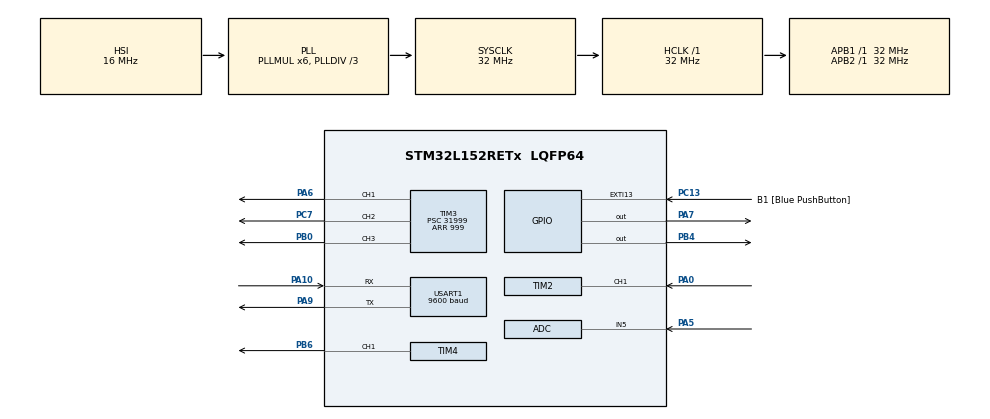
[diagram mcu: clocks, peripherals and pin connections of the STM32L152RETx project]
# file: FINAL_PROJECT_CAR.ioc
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ADC.Channel-0\#ChannelRegularConversion=ADC_CHANNEL_5
ADC.ClockPrescaler=ADC_CLOCK_ASYNC_DIV2
ADC.EOCSelection=ADC_EOC_SINGLE_CONV
ADC.NbrOfConversionFlag=1
ADC.Rank-0\#ChannelRegularConversion=1
ADC.SamplingTime-0\#ChannelRegularConversion=ADC_SAMPLETIME_4CYCLES
Mcu.Family=STM32L1
Mcu.Name=STM32L152RETx
Mcu.Package=LQFP64
NVIC.PriorityGroup=NVIC_PRIORITYGROUP_0
NVIC.TIM2_IRQn=true\:0\:0\:false\:false\:true\:true\:true\:true
NVIC.TIM3_IRQn=true\:0\:0\:false\:false\:true\:true\:true\:true
NVIC.TIM4_IRQn=true\:0\:0\:false\:false\:true\:true\:true\:true
NVIC.USART1_IRQn=true\:0\:0\:false\:false\:true\:true\:true\:true
PA0-WKUP1.Signal=S_TIM2_CH1_ETR
PA1.Signal=S_TIM2_CH2
PA10.Mode=Asynchronous
PA10.Signal=USART1_RX
PA13.GPIO_Label=TMS
PA13.Mode=Serial_Wire
PA13.Signal=SYS_JTMS-SWDIO
PA14.GPIO_Label=TCK
PA14.Mode=Serial_Wire
PA14.Signal=SYS_JTCK-SWCLK
PA5.Mode=IN5
PA5.Signal=ADC_IN5
PA6.Signal=S_TIM3_CH1
PA7.Signal=GPIO_Output
PA9.Mode=Asynchronous
PA9.Signal=USART1_TX
PB0.Signal=S_TIM3_CH3
PB3.GPIO_Label=SWO
PB3.Signal=SYS_JTDO-TRACESWO
PB4.Signal=GPIO_Output
PB6.Signal=S_TIM4_CH1
PC13-WKUP2.GPIO_Label=B1 [Blue PushButton]
PC13-WKUP2.Signal=GPXTI13
PC14-OSC32_IN.Mode=LSE-External-Oscillator
PC14-OSC32_IN.Signal=RCC_OSC32_IN
PC15-OSC32_OUT.Mode=LSE-External-Oscillator
PC15-OSC32_OUT.Signal=RCC_OSC32_OUT
PC7.Signal=S_TIM3_CH2
PH0-OSC_IN.Mode=HSE-External-Clock-Source
PH0-OSC_IN.Signal=RCC_OSC_IN
PH1-OSC_OUT.Signal=RCC_OSC_OUT
ProjectManager.HeapSize=0x200
ProjectManager.StackSize=0x400
ProjectManager.TargetToolchain=STM32CubeIDE
RCC.48MHZClocksFreq_Value=48000000
RCC.AHBFreq_Value=32000000
RCC.APB1Freq_Value=32000000
RCC.APB1TimFreq_Value=32000000
RCC.APB2Freq_Value=32000000
RCC.APB2TimFreq_Value=32000000
RCC.HCLKFreq_Value=32000000
RCC.HSE_VALUE=8000000
RCC.HSI_VALUE=16000000
RCC.MSI_VALUE=2097000
RCC.PLLDIV=RCC_PLL_DIV3
RCC.PLLMUL=RCC_PLL_MUL6
RCC.RTCClockSelectionVirtual=RCC_RTCCLKSOURCE_LSE
RCC.SYSCLKFreq_VALUE=32000000
RCC.SYSCLKSource=RCC_SYSCLKSOURCE_PLLCLK
RCC.USBOutput=48000000
RCC.VCOOutputFreq_Value=96000000
SH.S_TIM2_CH1_ETR.0=TIM2_CH1,Input_Capture1_from_TI1
SH.S_TIM2_CH2.0=TIM2_CH2
SH.S_TIM3_CH1.0=TIM3_CH1,PWM Generation1 CH1
SH.S_TIM3_CH2.0=TIM3_CH2,PWM Generation2 CH2
SH.S_TIM3_CH3.0=TIM3_CH3,PWM Generation3 CH3
SH.S_TIM4_CH1.0=TIM4_CH1,PWM Generation1 CH1
TIM2.AutoReloadPreload=TIM_AUTORELOAD_PRELOAD_ENABLE
TIM2.Channel-Input_Capture1_from_TI1=TIM_CHANNEL_1
TIM2.Channel-Output\ Compare2\ No\ Output=TIM_CHANNEL_2
TIM2.OCMode_2=TIM_OCMODE_TOGGLE
TIM2.Prescaler=31
TIM2.Pulse-Output\ Compare2\ No\ Output=10
TIM3.AutoReloadPreload=TIM_AUTORELOAD_PRELOAD_ENABLE
TIM3.Channel-PWM\ Generation1\ CH1=TIM_CHANNEL_1
TIM3.Channel-PWM\ Generation2\ CH2=TIM_CHANNEL_2
TIM3.Channel-PWM\ Generation3\ CH3=TIM_CHANNEL_3
TIM3.Period=999
TIM3.Prescaler=31999
TIM3.Pulse-PWM\ Generation3\ CH3=500
TIM4.AutoReloadPreload=TIM_AUTORELOAD_PRELOAD_ENABLE
TIM4.Channel-PWM\ Generation1\ CH1=TIM_CHANNEL_1
TIM4.Period=299
TIM4.Prescaler=31999
USART1.BaudRate=9600
USART1.VirtualMode=VM_ASYNC
VP_TIM2_VS_ClockSourceINT.Mode=Internal
VP_TIM2_VS_no_output2.Mode=Output Compare2 No Output
VP_TIM3_VS_ClockSourceINT.Mode=Internal
VP_TIM4_VS_ClockSourceINT.Mode=Internal
board=NUCLEO-L152RE

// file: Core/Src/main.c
/* USER CODE BEGIN Header */
/**
  ******************************************************************************
  * @file           : main.c
  ******************************************************************************
  */
/* USER CODE END Header */
#include "main.h"

/* USER CODE BEGIN PD */
// Ultrasonic sensor pins
#define TRIG_PIN GPIO_PIN_1
#define ECHO_PIN GPIO_PIN_0
#define TRIG_PORT GPIOA
#define ECHO_PORT GPIOA

// Buzzer pin
#define BUZZER_PIN GPIO_PIN_0
#define BUZZER_PORT GPIOB

// Motor driver pins
#define MOTOR_RIGHT_FWD_PIN GPIO_PIN_6  // IN1 - TIM3_CH1
#define MOTOR_RIGHT_BWD_PIN GPIO_PIN_7  // IN2
#define MOTOR_LEFT_FWD_PIN  GPIO_PIN_7  // IN3 - TIM3_CH2
#define MOTOR_LEFT_BWD_PIN  GPIO_PIN_4  // IN4
#define MOTOR_RIGHT_FWD_PORT GPIOA
#define MOTOR_RIGHT_BWD_PORT GPIOA
#define MOTOR_LEFT_FWD_PORT  GPIOC
#define MOTOR_LEFT_BWD_PORT  GPIOB

// Motor speed defines
#define MOTOR_FULL_SPEED  999   // Full speed PWM value
#define MOTOR_SLOW_SPEED  200   // Slow speed PWM value
#define MOTOR_STOP        0     // Stop PWM value

#define ADC_THRESHOLD 2482  // 2V threshold (2.0/3.3 * 4095)
#define UART_BUFFER_SIZE 1  // Size of UART receive buffer
/* USER CODE END PD */

ADC_HandleTypeDef hadc;

TIM_HandleTypeDef htim2;
TIM_HandleTypeDef htim3;
TIM_HandleTypeDef htim4;

UART_HandleTypeDef huart1;

/* USER CODE BEGIN PV */
uint32_t IC_Val1 = 0;
uint32_t IC_Val2 = 0;
uint32_t Difference = 0;
uint8_t Is_First_Captured = 0;
uint32_t Distance = 0;
uint32_t AdcValue = 0;
uint8_t uartBuffer[UART_BUFFER_SIZE];  // Buffer for UART reception
uint8_t manualMode = 0;  // 0 for automatic, 1 for manual mode
uint8_t rxData;
/* USER CODE END PV */

void SystemClock_Config(void);
static void MX_GPIO_Init(void);
static void MX_ADC_Init(void);
static void MX_TIM2_Init(void);
static void MX_TIM3_Init(void);
static void MX_TIM4_Init(void);
static void MX_USART1_UART_Init(void);
/* USER CODE BEGIN PFP */
void HCSR04_Start(void);
void motors_forward(uint32_t speed);
void motors_backward(uint32_t speed);
void motors_turn_left(uint32_t speed);
void motors_turn_right(uint32_t speed);
void motors_stop(void);
/* USER CODE END PFP */

/* USER CODE BEGIN 0 */
void motors_forward(uint32_t speed)
{
    // Set right motor speed using PWM
    __HAL_TIM_SET_COMPARE(&htim3, TIM_CHANNEL_1, speed);
    HAL_GPIO_WritePin(MOTOR_RIGHT_BWD_PORT, MOTOR_RIGHT_BWD_PIN, GPIO_PIN_RESET);

    // Set left motor speed using PWM
    __HAL_TIM_SET_COMPARE(&htim3, TIM_CHANNEL_2, speed);
    HAL_GPIO_WritePin(MOTOR_LEFT_BWD_PORT, MOTOR_LEFT_BWD_PIN, GPIO_PIN_RESET);
}

void motors_backward(uint32_t speed)
{
    // Right motor backward
    __HAL_TIM_SET_COMPARE(&htim3, TIM_CHANNEL_1, 0);
    HAL_GPIO_WritePin(MOTOR_RIGHT_BWD_PORT, MOTOR_RIGHT_BWD_PIN, GPIO_PIN_SET);

    // Left motor backward
    __HAL_TIM_SET_COMPARE(&htim3, TIM_CHANNEL_2, 0);
    HAL_GPIO_WritePin(MOTOR_LEFT_BWD_PORT, MOTOR_LEFT_BWD_PIN, GPIO_PIN_SET);
}

void motors_turn_right(uint32_t speed)
{
    // Right motor backward
    __HAL_TIM_SET_COMPARE(&htim3, TIM_CHANNEL_1, 0);
    HAL_GPIO_WritePin(MOTOR_RIGHT_BWD_PORT, MOTOR_RIGHT_BWD_PIN, GPIO_PIN_SET);

    // Left motor forward
    __HAL_TIM_SET_COMPARE(&htim3, TIM_CHANNEL_2, speed);
    HAL_GPIO_WritePin(MOTOR_LEFT_BWD_PORT, MOTOR_LEFT_BWD_PIN, GPIO_PIN_RESET);
}

void motors_turn_left(uint32_t speed)
{
    // Right motor forward
    __HAL_TIM_SET_COMPARE(&htim3, TIM_CHANNEL_1, speed);
    HAL_GPIO_WritePin(MOTOR_RIGHT_BWD_PORT, MOTOR_RIGHT_BWD_PIN, GPIO_PIN_RESET);

    // Left motor backward
    __HAL_TIM_SET_COMPARE(&htim3, TIM_CHANNEL_2, 0);
    HAL_GPIO_WritePin(MOTOR_LEFT_BWD_PORT, MOTOR_LEFT_BWD_PIN, GPIO_PIN_SET);
}

void motors_stop(void)
{
    // Stop right motor
    __HAL_TIM_SET_COMPARE(&htim3, TIM_CHANNEL_1, MOTOR_STOP);
    HAL_GPIO_WritePin(MOTOR_RIGHT_BWD_PORT, MOTOR_RIGHT_BWD_PIN, GPIO_PIN_RESET);

    // Stop left motor
    __HAL_TIM_SET_COMPARE(&htim3, TIM_CHANNEL_2, MOTOR_STOP);
    HAL_GPIO_WritePin(MOTOR_LEFT_BWD_PORT, MOTOR_LEFT_BWD_PIN, GPIO_PIN_RESET);
}
void HAL_TIM_PeriodElapsedCallback(TIM_HandleTypeDef *htim)
{
    if (htim->Instance == TIM4)  // 300ms timer for trigger
    {
        // Start ADC conversion and read value
        HAL_ADC_Start(&hadc);
        if(HAL_ADC_PollForConversion(&hadc, 100) == HAL_OK)
        {
            AdcValue = HAL_ADC_GetValue(&hadc);
            HAL_ADC_Stop(&hadc);

            if(AdcValue >= ADC_THRESHOLD)
            {
                if(!manualMode)  // Only trigger ultrasonic sensor in automatic mode
                {
                    HCSR04_Start();
                }
            }
            else
            {
                __HAL_TIM_SET_COMPARE(&htim3, TIM_CHANNEL_3, 1000);  // Buzzer off when voltage < 2V
                HAL_TIM_IC_Stop_IT(&htim2, TIM_CHANNEL_1);  // Stop sensor when voltage is low
                HAL_TIM_OC_Stop_IT(&htim2, TIM_CHANNEL_2);
                motors_stop();  // Stop motors when voltage is low
            }
        }
    }
}

void HAL_UART_RxCpltCallback(UART_HandleTypeDef *huart)
{
    if (huart->Instance == USART1)
    {
        // Send acknowledgment back to confirm command received
    	uint8_t ack[] = "OK\r\n";
        HAL_UART_Transmit(&huart1, ack, sizeof(ack)-1, 100);

        switch(rxData)
        {
            case 'M': // Manual mode
                if(!manualMode) {  // Only if not already in manual mode
                    manualMode = 1;
                    motors_stop();
                    HAL_TIM_IC_Stop_IT(&htim2, TIM_CHANNEL_1);
                    HAL_TIM_OC_Stop_IT(&htim2, TIM_CHANNEL_2);
                }
                break;

            case 'A': // Automatic mode
                if(manualMode) {  // Only if not already in automatic mode
                    manualMode = 0;
                    motors_stop();
                    if(AdcValue >= ADC_THRESHOLD)
                    {
                        HCSR04_Start();
                    }
                }
                break;

            case 'F': // Forward
                if(manualMode && AdcValue >= ADC_THRESHOLD)
                {
                    motors_forward(MOTOR_FULL_SPEED);
                }
                break;

            case 'B': // Backward
                if(manualMode && AdcValue >= ADC_THRESHOLD)
                {
                    motors_backward(MOTOR_SLOW_SPEED);
                }
                break;

            case 'L': // Left
                if(manualMode && AdcValue >= ADC_THRESHOLD)
                {
                    motors_turn_left(MOTOR_FULL_SPEED);
                }
                break;

            case 'R': // Right
                if(manualMode && AdcValue >= ADC_THRESHOLD)
                {
                    motors_turn_right(MOTOR_FULL_SPEED);
                }
                break;

            case 'S': // Stop
                if(manualMode)
                {
                    motors_stop();
                }
                break;
        }
    }

    // Immediately restart reception for next command
    HAL_UART_Receive_IT(&huart1, &rxData, 1);
}

void HAL_TIM_IC_CaptureCallback(TIM_HandleTypeDef *htim)
{
    if (htim->Instance != TIM2) return;  // Only process TIM2 events
    if (manualMode) return;  // Don't process if in manual mode

    if (htim->Channel == HAL_TIM_ACTIVE_CHANNEL_1)
    {
        if (Is_First_Captured == 0)
        {
            IC_Val1 = HAL_TIM_ReadCapturedValue(htim, TIM_CHANNEL_1);
            Is_First_Captured = 1;
            __HAL_TIM_SET_CAPTUREPOLARITY(htim, TIM_CHANNEL_1, TIM_INPUTCHANNELPOLARITY_FALLING);
        }
        else
        {
            IC_Val2 = HAL_TIM_ReadCapturedValue(htim, TIM_CHANNEL_1);

            if (IC_Val2 > IC_Val1)
                Difference = IC_Val2 - IC_Val1;
            else if (IC_Val2 < IC_Val1)
                Difference = ((65535 - IC_Val1) + IC_Val2) + 1;

            Distance = Difference / 58;

            // Update Buzzer and Motors based on distance only if ADC value is above threshold
            if(AdcValue >= ADC_THRESHOLD)
            {
                if(Distance >= 30) {
                    __HAL_TIM_SET_COMPARE(&htim3, TIM_CHANNEL_3, 1000);  // Buzzer off
                    motors_forward(MOTOR_FULL_SPEED);  // Full speed forward
                }
                else if(Distance >= 10) {
                    __HAL_TIM_SET_COMPARE(&htim3, TIM_CHANNEL_3, 500);   // Buzzer medium
                    motors_forward(MOTOR_SLOW_SPEED);  // Slow speed forward
                }
                else {
                    __HAL_TIM_SET_COMPARE(&htim3, TIM_CHANNEL_3, 0);     // Buzzer full
                    motors_stop();     // Stop motors when too close
                }
            }
            else {
                motors_stop();  // Stop motors when ADC below threshold
            }

            Is_First_Captured = 0;
            __HAL_TIM_SET_CAPTUREPOLARITY(htim, TIM_CHANNEL_1, TIM_INPUTCHANNELPOLARITY_RISING);
        }
    }
}

void HCSR04_Start(void)
{
    HAL_TIM_IC_Start_IT(&htim2, TIM_CHANNEL_1);    // Start input capture
    HAL_TIM_OC_Start_IT(&htim2, TIM_CHANNEL_2);    // Start output compare
}
/* USER CODE END 0 */

int main(void)
{

  /* MCU Configuration--------------------------------------------------------*/

  /* Reset of all peripherals, Initializes the Flash interface and the Systick. */
  HAL_Init();

  /* Configure the system clock */
  SystemClock_Config();

  /* Initialize all configured peripherals */
  MX_GPIO_Init();
  MX_ADC_Init();
  MX_TIM2_Init();
  MX_TIM3_Init();
  MX_TIM4_Init();
  MX_USART1_UART_Init();
  /* USER CODE BEGIN 2 */
  HAL_TIM_PWM_Start(&htim3, TIM_CHANNEL_1);  // Start PWM for right motor
  HAL_TIM_PWM_Start(&htim3, TIM_CHANNEL_2);  // Start PWM for left motor
  HAL_TIM_PWM_Start(&htim3, TIM_CHANNEL_3);  // Start PWM for buzzer
  HAL_TIM_Base_Start_IT(&htim4);             // Enable update interrupt for trigger timing

  // Send initial connection message
  uint8_t connectMsg[] = "Connection Established\r\n";
  HAL_UART_Transmit(&huart1, connectMsg, sizeof(connectMsg)-1, 1000);

  // Start receiving Bluetooth commands
  HAL_UART_Receive_IT(&huart1, (uint8_t*)&rxData, 1);

  // Initial ADC read and motor setup
  HAL_ADC_Start(&hadc);
  if(HAL_ADC_PollForConversion(&hadc, 100) == HAL_OK)
  {
      AdcValue = HAL_ADC_GetValue(&hadc);
      if(AdcValue >= ADC_THRESHOLD)
      {
          motors_forward(MOTOR_FULL_SPEED);  // Start at full speed if voltage is above threshold
          HCSR04_Start();
      }
      else
      {
          motors_stop();     // Ensure motors are stopped if voltage is low
      }
  }
  HAL_ADC_Stop(&hadc);
  /* USER CODE END 2 */

  /* Infinite loop */
  while (1)
  {

  }
}

void SystemClock_Config(void)
{
  RCC_OscInitTypeDef RCC_OscInitStruct = {0};
  RCC_ClkInitTypeDef RCC_ClkInitStruct = {0};

  /** Configure the main internal regulator output voltage
  */
  __HAL_PWR_VOLTAGESCALING_CONFIG(PWR_REGULATOR_VOLTAGE_SCALE1);

  /** Initializes the RCC Oscillators according to the specified parameters
  * in the RCC_OscInitTypeDef structure.
  */
  RCC_OscInitStruct.OscillatorType = RCC_OSCILLATORTYPE_HSI;
  RCC_OscInitStruct.HSIState = RCC_HSI_ON;
  RCC_OscInitStruct.HSICalibrationValue = RCC_HSICALIBRATION_DEFAULT;
  RCC_OscInitStruct.PLL.PLLState = RCC_PLL_ON;
  RCC_OscInitStruct.PLL.PLLSource = RCC_PLLSOURCE_HSI;
  RCC_OscInitStruct.PLL.PLLMUL = RCC_PLL_MUL6;
  RCC_OscInitStruct.PLL.PLLDIV = RCC_PLL_DIV3;
  if (HAL_RCC_OscConfig(&RCC_OscInitStruct) != HAL_OK)
  {
    Error_Handler();
  }

  /** Initializes the CPU, AHB and APB buses clocks
  */
  RCC_ClkInitStruct.ClockType = RCC_CLOCKTYPE_HCLK|RCC_CLOCKTYPE_SYSCLK
                              |RCC_CLOCKTYPE_PCLK1|RCC_CLOCKTYPE_PCLK2;
  RCC_ClkInitStruct.SYSCLKSource = RCC_SYSCLKSOURCE_PLLCLK;
  RCC_ClkInitStruct.AHBCLKDivider = RCC_SYSCLK_DIV1;
  RCC_ClkInitStruct.APB1CLKDivider = RCC_HCLK_DIV1;
  RCC_ClkInitStruct.APB2CLKDivider = RCC_HCLK_DIV1;

  if (HAL_RCC_ClockConfig(&RCC_ClkInitStruct, FLASH_LATENCY_1) != HAL_OK)
  {
    Error_Handler();
  }
}

static void MX_ADC_Init(void)
{

  ADC_ChannelConfTypeDef sConfig = {0};

  /** Configure the global features of the ADC (Clock, Resolution, Data Alignment and number of conversion)
  */
  hadc.Instance = ADC1;
  hadc.Init.ClockPrescaler = ADC_CLOCK_ASYNC_DIV2;
  hadc.Init.Resolution = ADC_RESOLUTION_12B;
  hadc.Init.DataAlign = ADC_DATAALIGN_RIGHT;
  hadc.Init.ScanConvMode = ADC_SCAN_DISABLE;
  hadc.Init.EOCSelection = ADC_EOC_SINGLE_CONV;
  hadc.Init.LowPowerAutoWait = ADC_AUTOWAIT_DISABLE;
  hadc.Init.LowPowerAutoPowerOff = ADC_AUTOPOWEROFF_DISABLE;
  hadc.Init.ChannelsBank = ADC_CHANNELS_BANK_A;
  hadc.Init.ContinuousConvMode = DISABLE;
  hadc.Init.NbrOfConversion = 1;
  hadc.Init.DiscontinuousConvMode = DISABLE;
  hadc.Init.ExternalTrigConv = ADC_SOFTWARE_START;
  hadc.Init.ExternalTrigConvEdge = ADC_EXTERNALTRIGCONVEDGE_NONE;
  hadc.Init.DMAContinuousRequests = DISABLE;
  if (HAL_ADC_Init(&hadc) != HAL_OK)
  {
    Error_Handler();
  }

  /** Configure for the selected ADC regular channel its corresponding rank in the sequencer and its sample time.
  */
  sConfig.Channel = ADC_CHANNEL_5;
  sConfig.Rank = ADC_REGULAR_RANK_1;
  sConfig.SamplingTime = ADC_SAMPLETIME_4CYCLES;
  if (HAL_ADC_ConfigChannel(&hadc, &sConfig) != HAL_OK)
  {
    Error_Handler();
  }

}

static void MX_TIM2_Init(void)
{

  TIM_ClockConfigTypeDef sClockSourceConfig = {0};
  TIM_MasterConfigTypeDef sMasterConfig = {0};
  TIM_IC_InitTypeDef sConfigIC = {0};
  TIM_OC_InitTypeDef sConfigOC = {0};

  htim2.Instance = TIM2;
  htim2.Init.Prescaler = 31;
  htim2.Init.CounterMode = TIM_COUNTERMODE_UP;
  htim2.Init.Period = 65535;
  htim2.Init.ClockDivision = TIM_CLOCKDIVISION_DIV1;
  htim2.Init.AutoReloadPreload = TIM_AUTORELOAD_PRELOAD_ENABLE;
  if (HAL_TIM_Base_Init(&htim2) != HAL_OK)
  {
    Error_Handler();
  }
  sClockSourceConfig.ClockSource = TIM_CLOCKSOURCE_INTERNAL;
  if (HAL_TIM_ConfigClockSource(&htim2, &sClockSourceConfig) != HAL_OK)
  {
    Error_Handler();
  }
  if (HAL_TIM_IC_Init(&htim2) != HAL_OK)
  {
    Error_Handler();
  }
  if (HAL_TIM_OC_Init(&htim2) != HAL_OK)
  {
    Error_Handler();
  }
  sMasterConfig.MasterOutputTrigger = TIM_TRGO_RESET;
  sMasterConfig.MasterSlaveMode = TIM_MASTERSLAVEMODE_DISABLE;
  if (HAL_TIMEx_MasterConfigSynchronization(&htim2, &sMasterConfig) != HAL_OK)
  {
    Error_Handler();
  }
  sConfigIC.ICPolarity = TIM_INPUTCHANNELPOLARITY_RISING;
  sConfigIC.ICSelection = TIM_ICSELECTION_DIRECTTI;
  sConfigIC.ICPrescaler = TIM_ICPSC_DIV1;
  sConfigIC.ICFilter = 0;
  if (HAL_TIM_IC_ConfigChannel(&htim2, &sConfigIC, TIM_CHANNEL_1) != HAL_OK)
  {
    Error_Handler();
  }
  sConfigOC.OCMode = TIM_OCMODE_TOGGLE;
  sConfigOC.Pulse = 10;
  sConfigOC.OCPolarity = TIM_OCPOLARITY_HIGH;
  sConfigOC.OCFastMode = TIM_OCFAST_DISABLE;
  if (HAL_TIM_OC_ConfigChannel(&htim2, &sConfigOC, TIM_CHANNEL_2) != HAL_OK)
  {
    Error_Handler();
  }

}

static void MX_TIM3_Init(void)
{

  TIM_ClockConfigTypeDef sClockSourceConfig = {0};
  TIM_MasterConfigTypeDef sMasterConfig = {0};
  TIM_OC_InitTypeDef sConfigOC = {0};

  htim3.Instance = TIM3;
  htim3.Init.Prescaler = 31999;
  htim3.Init.CounterMode = TIM_COUNTERMODE_UP;
  htim3.Init.Period = 999;
  htim3.Init.ClockDivision = TIM_CLOCKDIVISION_DIV1;
  htim3.Init.AutoReloadPreload = TIM_AUTORELOAD_PRELOAD_ENABLE;
  if (HAL_TIM_Base_Init(&htim3) != HAL_OK)
  {
    Error_Handler();
  }
  sClockSourceConfig.ClockSource = TIM_CLOCKSOURCE_INTERNAL;
  if (HAL_TIM_ConfigClockSource(&htim3, &sClockSourceConfig) != HAL_OK)
  {
    Error_Handler();
  }
  if (HAL_TIM_PWM_Init(&htim3) != HAL_OK)
  {
    Error_Handler();
  }
  sMasterConfig.MasterOutputTrigger = TIM_TRGO_RESET;
  sMasterConfig.MasterSlaveMode = TIM_MASTERSLAVEMODE_DISABLE;
  if (HAL_TIMEx_MasterConfigSynchronization(&htim3, &sMasterConfig) != HAL_OK)
  {
    Error_Handler();
  }
  sConfigOC.OCMode = TIM_OCMODE_PWM1;
  sConfigOC.Pulse = 0;
  sConfigOC.OCPolarity = TIM_OCPOLARITY_HIGH;
  sConfigOC.OCFastMode = TIM_OCFAST_DISABLE;
  if (HAL_TIM_PWM_ConfigChannel(&htim3, &sConfigOC, TIM_CHANNEL_1) != HAL_OK)
  {
    Error_Handler();
  }
  if (HAL_TIM_PWM_ConfigChannel(&htim3, &sConfigOC, TIM_CHANNEL_2) != HAL_OK)
  {
    Error_Handler();
  }
  sConfigOC.Pulse = 500;
  if (HAL_TIM_PWM_ConfigChannel(&htim3, &sConfigOC, TIM_CHANNEL_3) != HAL_OK)
  {
    Error_Handler();
  }
  HAL_TIM_MspPostInit(&htim3);

}

static void MX_TIM4_Init(void)
{

  TIM_ClockConfigTypeDef sClockSourceConfig = {0};
  TIM_MasterConfigTypeDef sMasterConfig = {0};
  TIM_OC_InitTypeDef sConfigOC = {0};

  htim4.Instance = TIM4;
  htim4.Init.Prescaler = 31999;
  htim4.Init.CounterMode = TIM_COUNTERMODE_UP;
  htim4.Init.Period = 299;
  htim4.Init.ClockDivision = TIM_CLOCKDIVISION_DIV1;
  htim4.Init.AutoReloadPreload = TIM_AUTORELOAD_PRELOAD_ENABLE;
  if (HAL_TIM_Base_Init(&htim4) != HAL_OK)
  {
    Error_Handler();
  }
  sClockSourceConfig.ClockSource = TIM_CLOCKSOURCE_INTERNAL;
  if (HAL_TIM_ConfigClockSource(&htim4, &sClockSourceConfig) != HAL_OK)
  {
    Error_Handler();
  }
  if (HAL_TIM_PWM_Init(&htim4) != HAL_OK)
  {
    Error_Handler();
  }
  sMasterConfig.MasterOutputTrigger = TIM_TRGO_RESET;
  sMasterConfig.MasterSlaveMode = TIM_MASTERSLAVEMODE_DISABLE;
  if (HAL_TIMEx_MasterConfigSynchronization(&htim4, &sMasterConfig) != HAL_OK)
  {
    Error_Handler();
  }
  sConfigOC.OCMode = TIM_OCMODE_PWM1;
  sConfigOC.Pulse = 0;
  sConfigOC.OCPolarity = TIM_OCPOLARITY_HIGH;
  sConfigOC.OCFastMode = TIM_OCFAST_DISABLE;
  if (HAL_TIM_PWM_ConfigChannel(&htim4, &sConfigOC, TIM_CHANNEL_1) != HAL_OK)
  {
    Error_Handler();
  }
  HAL_TIM_MspPostInit(&htim4);

}

static void MX_USART1_UART_Init(void)
{

  huart1.Instance = USART1;
  huart1.Init.BaudRate = 9600;
  huart1.Init.WordLength = UART_WORDLENGTH_8B;
  huart1.Init.StopBits = UART_STOPBITS_1;
  huart1.Init.Parity = UART_PARITY_NONE;
  huart1.Init.Mode = UART_MODE_TX_RX;
  huart1.Init.HwFlowCtl = UART_HWCONTROL_NONE;
  huart1.Init.OverSampling = UART_OVERSAMPLING_16;
  if (HAL_UART_Init(&huart1) != HAL_OK)
  {
    Error_Handler();
  }

}

static void MX_GPIO_Init(void)
{
  GPIO_InitTypeDef GPIO_InitStruct = {0};

  /* GPIO Ports Clock Enable */
  __HAL_RCC_GPIOC_CLK_ENABLE();
  __HAL_RCC_GPIOH_CLK_ENABLE();
  __HAL_RCC_GPIOA_CLK_ENABLE();
  __HAL_RCC_GPIOB_CLK_ENABLE();

  /*Configure GPIO pin Output Level */
  HAL_GPIO_WritePin(GPIOA, GPIO_PIN_7, GPIO_PIN_RESET);

  /*Configure GPIO pin Output Level */
  HAL_GPIO_WritePin(GPIOB, GPIO_PIN_4, GPIO_PIN_RESET);

  /*Configure GPIO pin : B1_Pin */
  GPIO_InitStruct.Pin = B1_Pin;
  GPIO_InitStruct.Mode = GPIO_MODE_IT_RISING;
  GPIO_InitStruct.Pull = GPIO_NOPULL;
  HAL_GPIO_Init(B1_GPIO_Port, &GPIO_InitStruct);

  /*Configure GPIO pin : PA7 */
  GPIO_InitStruct.Pin = GPIO_PIN_7;
  GPIO_InitStruct.Mode = GPIO_MODE_OUTPUT_PP;
  GPIO_InitStruct.Pull = GPIO_NOPULL;
  GPIO_InitStruct.Speed = GPIO_SPEED_FREQ_LOW;
  HAL_GPIO_Init(GPIOA, &GPIO_InitStruct);

  /*Configure GPIO pin : PB4 */
  GPIO_InitStruct.Pin = GPIO_PIN_4;
  GPIO_InitStruct.Mode = GPIO_MODE_OUTPUT_PP;
  GPIO_InitStruct.Pull = GPIO_NOPULL;
  GPIO_InitStruct.Speed = GPIO_SPEED_FREQ_LOW;
  HAL_GPIO_Init(GPIOB, &GPIO_InitStruct);

}

void Error_Handler(void)
{
        __disable_irq();
        while (1)
        {
        }
}
